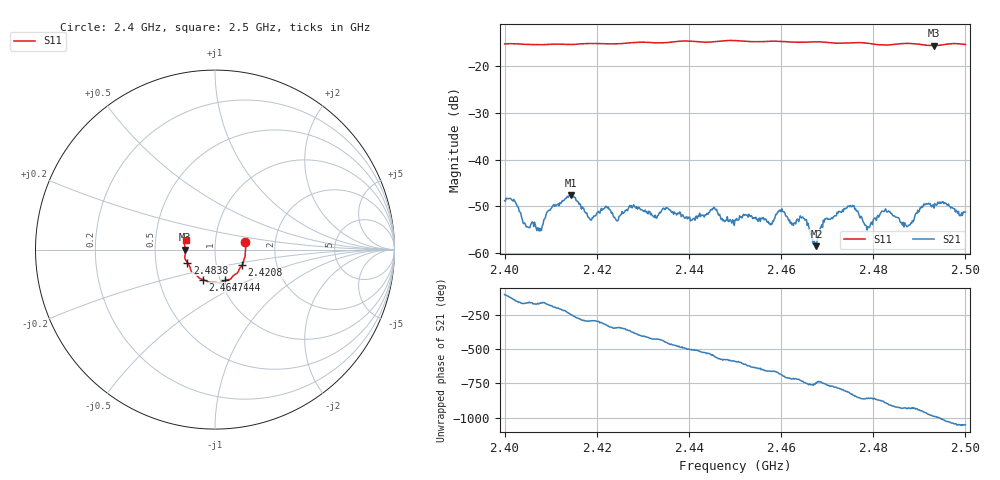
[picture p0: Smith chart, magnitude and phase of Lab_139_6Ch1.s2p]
# Hz S RI R 50
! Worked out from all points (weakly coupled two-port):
!   601 points, 2.4 GHz to 2.5 GHz, reference 50 ohm
!   highest |S21| = -47.60 dB at 2.4143 GHz (marker M1); lowest = -58.5 dB at 2.4677 GHz (marker M2)
!   lowest |S11| = -15.6 dB at 2.4932 GHz (marker M3), VSWR 1.40, Z = 35.8 - j0.054 ohm
!   |S11| at or under -10 dB: start of sweep to end of sweep
!   S12 and S22 are empty: the file has one direction only
!   S11 on the Smith chart (normalised r, x): 2.4 GHz: 1.40, +0.12; 2.4208 GHz: 1.33, -0.24; 2.444 GHz: 1.06, -0.37; 2.4647 GHz: 0.83, -0.29; 2.4838 GHz: 0.73, -0.11; 2.5 GHz: 0.72, +0.08
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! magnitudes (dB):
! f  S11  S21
! 2.4 GHz  -15.3  -48.8
! 2.4075 GHz  -15.4  -55.3
! 2.4102 GHz  -15.3  -50.4
! 2.4143 GHz  -15.4  -47.6
! 2.4167 GHz  -15.2  -50.6
! 2.4187 GHz  -15.1  -52.9
! 2.4208 GHz  -15.2  -50.9
! 2.4333 GHz  -15.0  -51.9
! 2.444 GHz  -14.9  -51.5
! 2.45 GHz  -14.5  -52.9
! 2.4598 GHz  -14.7  -50.8
! 2.4647 GHz  -14.9  -52.2
! 2.4667 GHz  -14.8  -55.7
! 2.4677 GHz  -14.8  -58.5
! 2.4697 GHz  -14.9  -52.7
! 2.4745 GHz  -15.0  -49.9
! 2.4787 GHz  -15.1  -55.0
! 2.4833 GHz  -15.5  -50.9
! 2.4838 GHz  -15.4  -51.5
! 2.4875 GHz  -15.1  -54.2
! 2.4932 GHz  -15.6  -50.4
! 2.5 GHz  -15.4  -51.2
